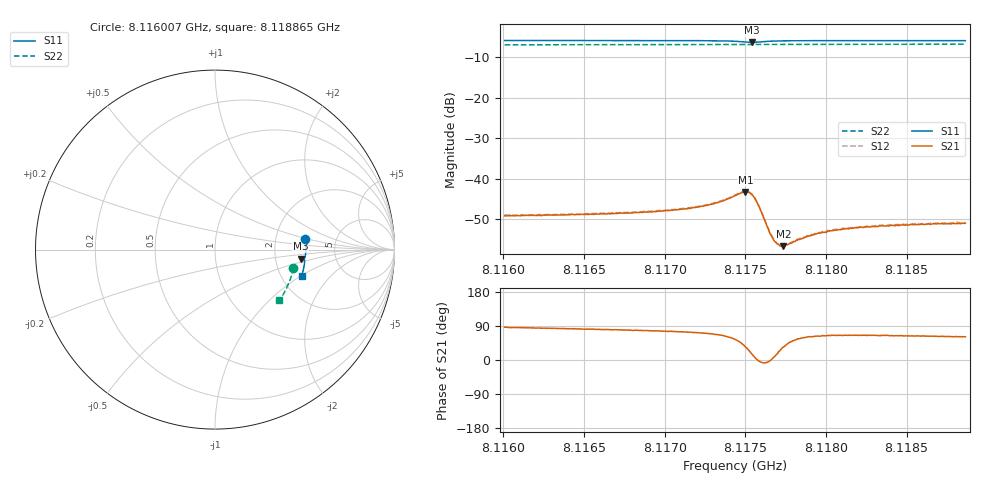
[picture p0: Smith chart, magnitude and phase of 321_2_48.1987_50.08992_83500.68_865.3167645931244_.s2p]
#  HZ  S  RI  R  50.00
! Rohde & Schwarz Vector Network Analyzer
! Rohde-Schwarz,ZNB20-2Port,1311601062101988,3.16
! Created: UTC 3/20/2024, 11:50:23 AM
! freq[Hz]  re:S11  im:S11  re:S21  im:S21  re:S12  im:S12  re:S22  im:S22
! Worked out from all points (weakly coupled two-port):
!   401 points, 8.116007 GHz to 8.118865 GHz, reference 50 ohm
!   highest |S21| = -43.25 dB at 8.1175 GHz (marker M1); lowest = -56.6 dB at 8.117736 GHz (marker M2)
!   lowest |S11| = -6.4 dB at 8.117543 GHz (marker M3), VSWR 2.85, Z = 140 - j18.5 ohm
!   |S11| at or under -10 dB: nowhere
!   |S22| runs from -7.0 to -6.8 dB; largest |S21 - S12| = 0.00019
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8.1160071e9  0.504 0.0576  0.000217 0.00349  0.000264 0.00354  0.4367 -0.1019
8.1164858e9  0.5062 0.0216  0.000543 0.0036  0.000567 0.00361  0.4294 -0.1342
8.1169644e9  0.5054 -0.0153  0.000913 0.00386  0.000956 0.00396  0.4195 -0.1659
8.1170859e9  0.5046 -0.025  0.0011 0.00401  0.00115 0.00406  0.4165 -0.174
8.1172359e9  0.5028 -0.0378  0.00149 0.00434  0.00157 0.0044  0.4129 -0.1837
8.1173359e9  0.5 -0.0473  0.00206 0.00471  0.00218 0.00477  0.41 -0.1904
8.1174359e9  0.4927 -0.0572  0.00358 0.00504  0.00372 0.00511  0.4068 -0.1966
8.1175002e9  0.4822 -0.0585  0.00563 0.00396  0.00579 0.00397  0.4046 -0.2006
8.1175216e9  0.479 -0.0554  0.00614 0.00289  0.00628 0.00287  0.4039 -0.2017
8.1175431e9  0.4781 -0.051  0.00609 0.00158  0.00623 0.00158  0.4034 -0.2028
8.1175574e9  0.4792 -0.0481  0.00573 0.000741  0.00583 0.00069  0.4031 -0.2036
8.1175788e9  0.4827 -0.0451  0.00482 -8.72e-05  0.00488 -0.000122  0.4027 -0.2047
8.1176431e9  0.4934 -0.0477  0.00238 -0.000186  0.00241 -0.000201  0.4013 -0.2088
8.1176717e9  0.4958 -0.051  0.00181 0.000166  0.00185 0.000164  0.4005 -0.2107
8.1176931e9  0.497 -0.0535  0.00156 0.000415  0.00158 0.00041  0.3998 -0.2122
8.1177074e9  0.4976 -0.0552  0.00143 0.000597  0.00145 0.000542  0.3997 -0.213
8.117736e9  0.4983 -0.0584  0.00122 0.000832  0.00124 0.000865  0.3989 -0.2149
8.1179146e9  0.4985 -0.0755  0.000951 0.00176  0.001 0.0018  0.3932 -0.2262
8.1180289e9  0.4974 -0.0852  0.000998 0.00205  0.00102 0.00208  0.3895 -0.2333
8.1181217e9  0.4962 -0.0926  0.00101 0.00219  0.00104 0.00223  0.3862 -0.2392
8.1183932e9  0.4918 -0.1131  0.00114 0.00234  0.00116 0.00246  0.3765 -0.2556
8.1188647e9  0.4824 -0.1474  0.00136 0.00247  0.00143 0.00253  0.3581 -0.2831
